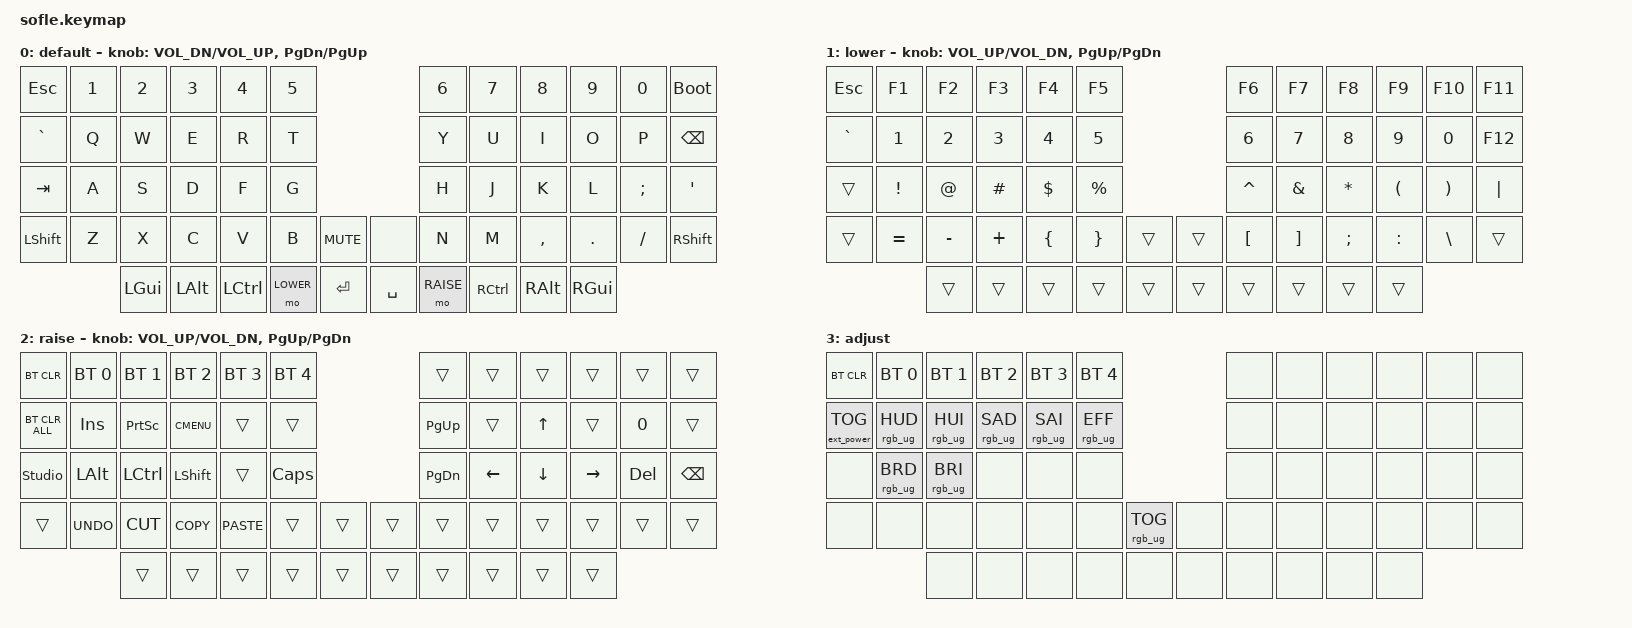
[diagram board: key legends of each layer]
/*
 * Copyright (c) 2020 The ZMK Contributors
 *
 * SPDX-License-Identifier: MIT
 */

#include <behaviors.dtsi>
#include <dt-bindings/zmk/bt.h>
#include <dt-bindings/zmk/ext_power.h>
#include <dt-bindings/zmk/keys.h>
#include <dt-bindings/zmk/rgb.h>

#define BASE 0
#define LOWER 1
#define RAISE 2
#define ADJUST 3

&pinctrl {
    spi3_default: spi3_default {
        group1 {
            psels = <NRF_PSEL(SPIM_MOSI, 0, 6)>; // Pino D3 do nice!nano
        };
    };

    spi3_sleep: spi3_sleep {
        group1 {
            psels = <NRF_PSEL(SPIM_MOSI, 0, 6)>;
            low-power-enable;
        };
    };
};

&spi3 {
    compatible = "nordic,nrf-spim";
    status = "okay";
    pinctrl-0 = <&spi3_default>;
    pinctrl-1 = <&spi3_sleep>;
    pinctrl-names = "default", "sleep";

    led_strip: ws2812@0 {
        compatible = "worldsemi,ws2812-spi";
        label = "WS2812";
        reg = <0>;
        spi-max-frequency = <4000000>;
        chain-length = <30>; // Ajuste para o número de LEDs do seu Sofle
        spi-one-frame = <0x70>;
        spi-zero-frame = <0x40>;
        color-mapping = <2 1 3>;
    };
};

/ {
    chosen {
        zmk,underglow = &led_strip;
    };
    // Activate ADJUST layer by pressing raise and lower

    conditional_layers {
        compatible = "zmk,conditional-layers";

        adjust_layer {
            if-layers = <LOWER RAISE>;
            then-layer = <ADJUST>;
        };
    };

    keymap {
        compatible = "zmk,keymap";

        default_layer {
            display-name = "default";

            // ------------------------------------------------------------------------------------------------------------
            // |   `   |  1  |  2  |  3   |  4   |  5   |                   |  6   |  7    |  8    |  9   |   0   |       |
            // |  ESC  |  Q  |  W  |  E   |  R   |  T   |                   |  Y   |  U    |  I    |  O   |   P   | BKSPC |
            // |  TAB  |  A  |  S  |  D   |  F   |  G   |                   |  H   |  J    |  K    |  L   |   ;   |   '   |
            // | SHIFT |  Z  |  X  |  C   |  V   |  B   |  MUTE  |  |       |  N   |  M    |  ,    |  .   |   /   | SHIFT |
            //               | GUI | ALT  | CTRL | LOWER|  ENTER |  | SPACE | RAISE| CTRL  | ALT   | GUI  |

            bindings = <
&kp ESC    &kp N1  &kp N2    &kp N3    &kp N4     &kp N5                              &kp N6     &kp N7     &kp N8     &kp N9    &kp N0    &bootloader
&kp GRAVE  &kp Q   &kp W     &kp E     &kp R      &kp T                               &kp Y      &kp U      &kp I      &kp O     &kp P     &kp BSPC
&kp TAB    &kp A   &kp S     &kp D     &kp F      &kp G                               &kp H      &kp J      &kp K      &kp L     &kp SEMI  &kp SQT
&kp LSHFT  &kp Z   &kp X     &kp C     &kp V      &kp B      &kp C_MUTE    &none      &kp N      &kp M      &kp COMMA  &kp DOT   &kp FSLH  &kp RSHFT
                   &kp LGUI  &kp LALT  &kp LCTRL  &mo LOWER  &kp RET       &kp SPACE  &mo RAISE  &kp RCTRL  &kp RALT   &kp RGUI
            >;

            sensor-bindings =
                <&inc_dec_kp C_VOL_DN C_VOL_UP>,
                <&inc_dec_kp PG_DN PG_UP>;
        };

        lower_layer {
            display-name = "lower";

            // TODO: Some binds are waiting for shifted keycode support.
            // ------------------------------------------------------------------------------------------------------------
            // |       |  F1 |  F2 |  F3  |  F4  |  F5  |                   |  F6  |  F7   |  F8   |  F9  |  F10  |  F11  |
            // |   `   |  1  |  2  |  3   |  4   |  5   |                   |  6   |  7    |  8    |  9   |   0   |  F12  |
            // |       |  !  |  @  |  #   |  $   |  %   |                   |  ^   |  &    |  *    |  (   |   )   |   |   |
            // |       |  =  |  -  |  +   |  {   |  }   |        |  |       |  [   |  ]    |  ;    |  :   |   \   |       |
            //               |     |      |      |      |        |  |       |      |       |       |      |

            bindings = <
&kp ESC    &kp F1     &kp F2     &kp F3    &kp F4    &kp F5                       &kp F6     &kp F7    &kp F8     &kp F9     &kp F10   &kp F11
&kp GRAVE  &kp N1     &kp N2     &kp N3    &kp N4    &kp N5                       &kp N6     &kp N7    &kp N8     &kp N9     &kp N0    &kp F12
&trans     &kp EXCL   &kp AT     &kp HASH  &kp DLLR  &kp PRCNT                    &kp CARET  &kp AMPS  &kp ASTRK  &kp LPAR   &kp RPAR  &kp PIPE
&trans     &kp EQUAL  &kp MINUS  &kp PLUS  &kp LBRC  &kp RBRC   &trans    &trans  &kp LBKT   &kp RBKT  &kp SEMI   &kp COLON  &kp BSLH  &trans
                      &trans     &trans    &trans    &trans     &trans    &trans  &trans     &trans    &trans     &trans
            >;

            sensor-bindings = <&inc_dec_kp C_VOL_UP C_VOL_DN &inc_dec_kp PG_UP PG_DN>;
        };

        raise_layer {
            display-name = "raise";

            // ------------------------------------------------------------------------------------------------------------
            // | BTCLR | BT1  | BT2  |  BT3  |  BT4  |  BT5 |                |      |      |       |      |       |       |
            // |       | INS  | PSCR | GUI   |       |      |                | PGUP |      |   ^   |      |       |       |
            // |       | ALT  | CTRL | SHIFT |       | CAPS |                | PGDN |   <- |   v   |  ->  |  DEL  | BKSPC |
            // |       | UNDO | CUT  | COPY  | PASTE |      |      |  |      |      |      |       |      |       |       |
            //                |      |       |       |      |      |  |      |      |      |       |      |

            bindings = <
&bt BT_CLR      &bt BT_SEL 0  &bt BT_SEL 1  &bt BT_SEL 2  &bt BT_SEL 3  &bt BT_SEL 4                    &trans     &trans    &trans    &trans     &trans   &trans
&bt BT_CLR_ALL  &kp INS       &kp PSCRN     &kp K_CMENU   &trans        &trans                          &kp PG_UP  &trans    &kp UP    &trans     &kp N0   &trans
&studio_unlock  &kp LALT      &kp LCTRL     &kp LSHFT     &trans        &kp CLCK                        &kp PG_DN  &kp LEFT  &kp DOWN  &kp RIGHT  &kp DEL  &kp BSPC
&trans          &kp K_UNDO    &kp K_CUT     &kp K_COPY    &kp K_PASTE   &trans        &trans    &trans  &trans     &trans    &trans    &trans     &trans   &trans
                              &trans        &trans        &trans        &trans        &trans    &trans  &trans     &trans    &trans    &trans
            >;

            sensor-bindings = <&inc_dec_kp C_VOL_UP C_VOL_DN &inc_dec_kp PG_UP PG_DN>;
        };

        adjust_layer {
            // ----------------------------------------------------------------------------------------------------------------------------
            // | BTCLR  |  BT1    |  BT2    |   BT3   |   BT4   |   BT5   |                  |      |      |       |      |       |       |
            // | EXTPWR | RGB_HUD | RGB_HUI | RGB_SAD | RGB_SAI | RGB_EFF |                  |      |      |       |      |       |       |
            // |        | RGB_BRD | RGB_BRI |         |         |         |                  |      |      |       |      |       |       |
            // |        |         |         |         |         |         | RGB_TOG | |      |      |      |       |      |       |       |
            //                    |         |         |         |         |         | |      |      |      |       |      |

            display-name = "adjust";
            bindings = <
&bt BT_CLR         &bt BT_SEL 0     &bt BT_SEL 1     &bt BT_SEL 2     &bt BT_SEL 3     &bt BT_SEL 4                               &none  &none  &none  &none  &none  &none
&ext_power EP_TOG  &rgb_ug RGB_HUD  &rgb_ug RGB_HUI  &rgb_ug RGB_SAD  &rgb_ug RGB_SAI  &rgb_ug RGB_EFF                            &none  &none  &none  &none  &none  &none
&none              &rgb_ug RGB_BRD  &rgb_ug RGB_BRI  &none            &none            &none                                      &none  &none  &none  &none  &none  &none
&none              &none            &none            &none            &none            &none            &rgb_ug RGB_TOG    &none  &none  &none  &none  &none  &none  &none
                                    &none            &none            &none            &none            &none              &none  &none  &none  &none  &none
            >;
        };
    };
};
